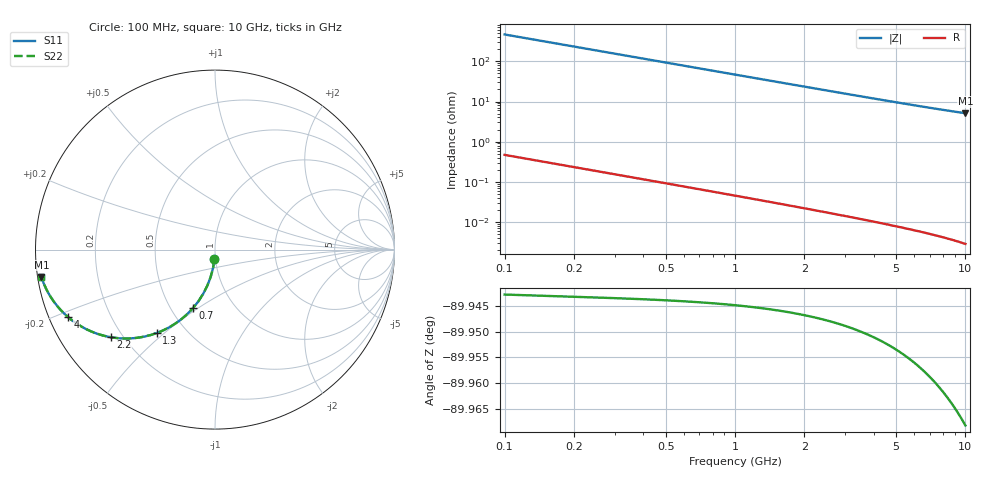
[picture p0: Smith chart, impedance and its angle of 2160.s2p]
# Hz S RI R 50.00
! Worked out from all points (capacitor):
!   100 points, 100 MHz to 10 GHz, reference 50 ohm
!   read as one part in shunt: C = 3.4 pF near 100 MHz
!   lowest |Z| = 5.11 ohm at 10 GHz (marker M1)
!   S11 on the Smith chart (normalised r, x): 100 MHz: 0.99, -0.11; 700 MHz: 0.64, -0.48; 1.3 GHz: 0.34, -0.47; 2.2 GHz: 0.16, -0.36; 4 GHz: 0.05, -0.22; 10 GHz: 0.01, -0.08
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1e8  -0.00281 -0.053  0.997 -0.0535  0.997 -0.0535  -0.00281 -0.053
2e8  -0.0113 -0.1051  0.9885 -0.106  0.9885 -0.106  -0.0113 -0.1051
3e8  -0.0251 -0.1555  0.9748 -0.1568  0.9748 -0.1568  -0.0251 -0.1555
4e8  -0.0437 -0.2033  0.9561 -0.205  0.9561 -0.205  -0.0437 -0.2033
5e8  -0.0667 -0.248  0.9332 -0.2502  0.9332 -0.2502  -0.0667 -0.248
6e8  -0.0932 -0.2891  0.9066 -0.2917  0.9066 -0.2917  -0.0932 -0.2891
7e8  -0.1227 -0.3262  0.8771 -0.3293  0.8771 -0.3293  -0.1227 -0.3262
8e8  -0.1545 -0.3592  0.8453 -0.3627  0.8453 -0.3627  -0.1545 -0.3592
1e9  -0.222 -0.413  0.7778 -0.4173  0.7778 -0.4173  -0.222 -0.413
1.3e9  -0.3253 -0.4652  0.6745 -0.4709  0.6745 -0.4709  -0.3253 -0.4652
1.5e9  -0.391 -0.4842  0.6088 -0.4908  0.6088 -0.4908  -0.391 -0.4842
1.8e9  -0.4804 -0.4952  0.5194 -0.5031  0.5194 -0.5031  -0.4804 -0.4952
2.2e9  -0.5801 -0.4882  0.4197 -0.4978  0.4197 -0.4978  -0.5801 -0.4882
2.5e9  -0.6409 -0.4737  0.3589 -0.4847  0.3589 -0.4847  -0.6409 -0.4737
2.8e9  -0.6913 -0.4552  0.3084 -0.4675  0.3084 -0.4675  -0.6913 -0.4552
3.4e9  -0.7678 -0.4141  0.2319 -0.4291  0.2319 -0.4291  -0.7678 -0.4141
4e9  -0.821 -0.3738  0.1787 -0.3916  0.1787 -0.3916  -0.821 -0.3738
4.5e9  -0.8532 -0.3431  0.1464 -0.3631  0.1464 -0.3631  -0.8532 -0.3431
5.1e9  -0.8822 -0.3102  0.1174 -0.333  0.1174 -0.333  -0.8822 -0.3102
6.7e9  -0.9287 -0.241  0.0706 -0.2713  0.0706 -0.2713  -0.9287 -0.241
8.4e9  -0.954 -0.1887  0.0451 -0.2273  0.0451 -0.2273  -0.954 -0.1887
1e10  -0.9674 -0.1519  0.0313 -0.1986  0.0313 -0.1986  -0.9674 -0.1519
